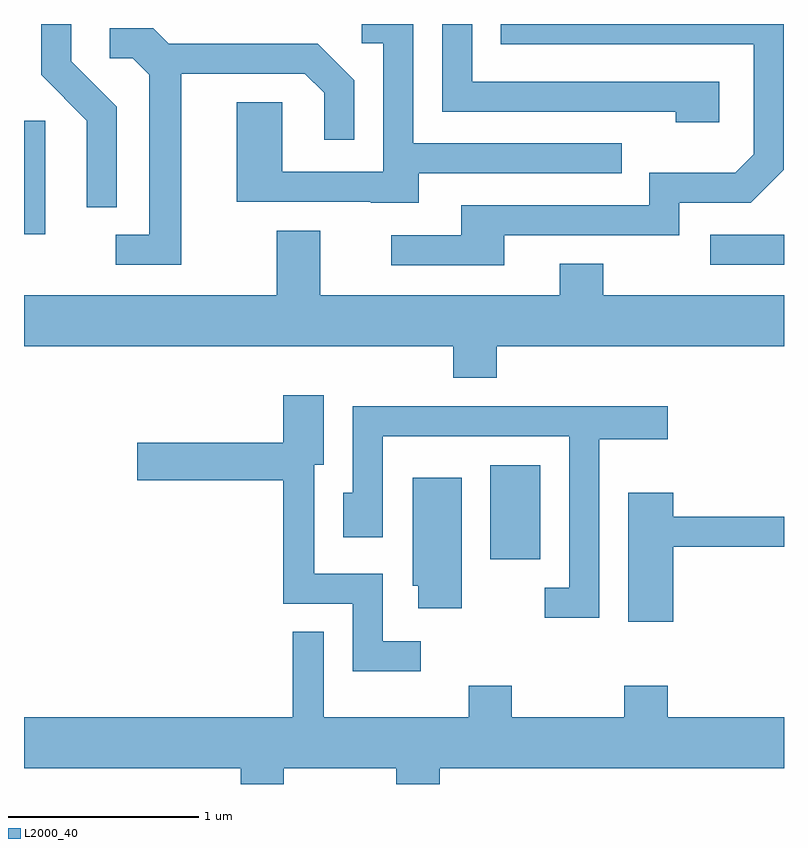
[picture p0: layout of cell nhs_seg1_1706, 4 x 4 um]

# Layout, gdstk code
import gdstk
lib = gdstk.Library(unit=1e-6, precision=1e-09)
def R(c, l, rs):  # rectangles x0, y0, x1, y1
    for r in rs: c.add(gdstk.rectangle(r[:2], r[2:], *l))
def P(c, l, *ps):  # polygons
    for p in ps: c.add(gdstk.Polygon(p, *l))
L2000_40 = (2000, 40)

nhs_seg1_1706 = lib.new_cell('nhs_seg1_1706')
R(nhs_seg1_1706, L2000_40, [(240.066,902.896,240.329,903.389), (241.223,904.446,241.611,904.604), (237.611,904.606,237.724,905.204)])
P(nhs_seg1_1706, L2000_40, [(239.689,904.926),(240.758,904.926),(240.758,905.084),(239.659,905.084),(239.659,905.712),(239.388,905.712),(239.388,905.611),(239.501,905.611),(239.501,904.934),(238.969,904.934),(238.969,905.299),(238.731,905.299),(238.731,904.776),(239.435,904.776),(239.435,904.771),(239.689,904.771)],
  [(241.269,905.409),(239.969,905.409),(239.969,905.712),(239.811,905.712),(239.811,905.251),(241.041,905.251),(241.041,905.196),(241.269,905.196)],
  [(238.099,905.277),(237.859,905.517),(237.859,905.712),(237.701,905.712),(237.701,905.444),(237.941,905.204),(237.941,904.748),(238.099,904.748)],
  [(240.139,904.601),(241.059,904.601),(241.059,904.771),(241.437,904.771),(241.609,904.944),(241.609,905.712),(240.121,905.712),(240.121,905.606),(241.451,905.606),(241.451,905.027),(241.354,904.929),(240.901,904.929),(240.901,904.759),(239.911,904.759),(239.911,904.599),(239.543,904.599),(239.543,904.441),(240.139,904.441)],
  [(238.439,905.451),(239.089,905.451),(239.191,905.349),(239.191,905.103),(239.349,905.103),(239.349,905.417),(239.157,905.609),(238.372,905.609),(238.292,905.689),(238.063,905.689),(238.063,905.531),(238.184,905.531),(238.271,905.444),(238.271,904.604),(238.093,904.604),(238.093,904.446),(238.439,904.446)],
  [(240.099,904.016),(241.611,904.016),(241.611,904.284),(240.659,904.284),(240.659,904.449),(240.431,904.449),(240.431,904.284),(239.169,904.284),(239.169,904.624),(238.941,904.624),(238.941,904.284),(237.611,904.284),(237.611,904.016),(239.871,904.016),(239.871,903.851),(240.099,903.851)],
  [(239.698,902.464),(239.499,902.464),(239.499,902.819),(239.139,902.819),(239.139,903.391),(239.189,903.391),(239.189,903.759),(238.976,903.759),(238.976,903.509),(238.206,903.509),(238.206,903.311),(238.976,903.311),(238.976,902.661),(239.341,902.661),(239.341,902.306),(239.698,902.306)],
  [(240.639,903.526),(240.999,903.526),(240.999,903.699),(239.341,903.699),(239.341,903.244),(239.291,903.244),(239.291,903.011),(239.499,903.011),(239.499,903.541),(240.481,903.541),(240.481,902.744),(240.353,902.744),(240.353,902.586),(240.639,902.586)],
  [(239.914,903.324),(239.656,903.324),(239.656,902.756),(239.686,902.756),(239.686,902.636),(239.914,902.636)],
  [(241.029,902.961),(241.611,902.961),(241.611,903.119),(241.029,903.119),(241.029,903.244),(240.791,903.244),(240.791,902.566),(241.029,902.566)],
  [(238.979,901.796),(239.571,901.796),(239.571,901.712),(239.799,901.712),(239.799,901.796),(241.611,901.796),(241.611,902.064),(240.999,902.064),(240.999,902.229),(240.771,902.229),(240.771,902.064),(240.179,902.064),(240.179,902.229),(239.951,902.229),(239.951,902.064),(239.189,902.064),(239.189,902.513),(239.026,902.513),(239.026,902.064),(237.611,902.064),(237.611,901.796),(238.751,901.796),(238.751,901.712),(238.979,901.712)])

lib.write_gds('nhs_seg1_1706.gds')
